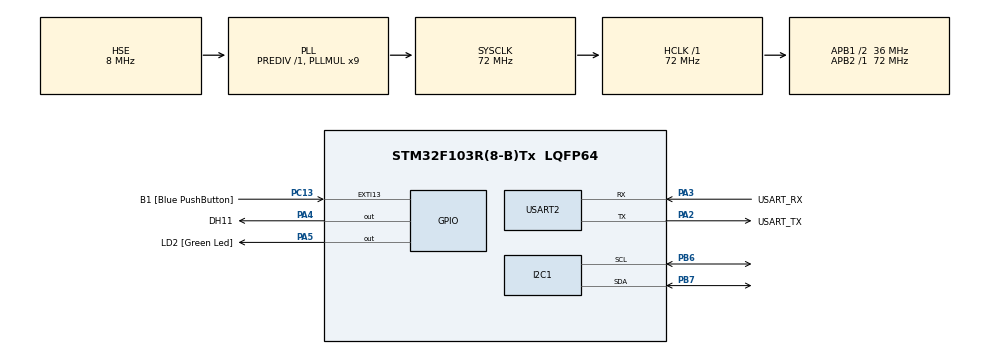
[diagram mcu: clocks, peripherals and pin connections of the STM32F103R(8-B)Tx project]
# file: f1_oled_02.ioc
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Mcu.Family=STM32F1
Mcu.Name=STM32F103R(8-B)Tx
Mcu.Package=LQFP64
NVIC.EXTI15_10_IRQn=true\:0\:0\:false\:false\:true\:true\:true
NVIC.PriorityGroup=NVIC_PRIORITYGROUP_4
PA13.GPIO_Label=TMS
PA13.Mode=Serial_Wire
PA13.Signal=SYS_JTMS-SWDIO
PA14.GPIO_Label=TCK
PA14.Mode=Serial_Wire
PA14.Signal=SYS_JTCK-SWCLK
PA2.GPIO_Label=USART_TX
PA2.GPIO_Mode=GPIO_MODE_AF_PP
PA2.GPIO_PuPd=GPIO_NOPULL
PA2.GPIO_Speed=GPIO_SPEED_FREQ_LOW
PA2.Mode=Asynchronous
PA2.Signal=USART2_TX
PA3.GPIO_Label=USART_RX
PA3.GPIO_Mode=GPIO_MODE_AF_PP
PA3.GPIO_PuPd=GPIO_NOPULL
PA3.GPIO_Speed=GPIO_SPEED_FREQ_LOW
PA3.Mode=Asynchronous
PA3.Signal=USART2_RX
PA4.GPIO_Label=DH11
PA4.GPIO_ModeDefaultOutputPP=GPIO_MODE_OUTPUT_OD
PA4.GPIO_PuPd=GPIO_PULLUP
PA4.GPIO_Speed=GPIO_SPEED_FREQ_HIGH
PA4.PinState=GPIO_PIN_SET
PA4.Signal=GPIO_Output
PA5.GPIO_Label=LD2 [Green Led]
PA5.GPIO_ModeDefaultOutputPP=GPIO_MODE_OUTPUT_PP
PA5.GPIO_PuPd=GPIO_NOPULL
PA5.GPIO_Speed=GPIO_SPEED_FREQ_LOW
PA5.Signal=GPIO_Output
PB3.GPIO_Label=SWO
PB3.Signal=SYS_JTDO-TRACESWO
PB6.Mode=I2C
PB6.Signal=I2C1_SCL
PB7.Mode=I2C
PB7.Signal=I2C1_SDA
PC13-TAMPER-RTC.GPIO_Label=B1 [Blue PushButton]
PC13-TAMPER-RTC.GPIO_PuPd=GPIO_NOPULL
PC13-TAMPER-RTC.Signal=GPXTI13
PC14-OSC32_IN.Mode=LSE-External-Oscillator
PC14-OSC32_IN.Signal=RCC_OSC32_IN
PC15-OSC32_OUT.Mode=LSE-External-Oscillator
PC15-OSC32_OUT.Signal=RCC_OSC32_OUT
PD0-OSC_IN.Mode=HSE-External-Clock-Source
PD0-OSC_IN.Signal=RCC_OSC_IN
PD1-OSC_OUT.Mode=HSE-External-Clock-Source
PD1-OSC_OUT.Signal=RCC_OSC_OUT
ProjectManager.HeapSize=0x200
ProjectManager.StackSize=0x400
ProjectManager.TargetToolchain=STM32CubeIDE
RCC.AHBFreq_Value=72000000
RCC.APB1CLKDivider=RCC_HCLK_DIV2
RCC.APB1Freq_Value=36000000
RCC.APB1TimFreq_Value=72000000
RCC.APB2Freq_Value=72000000
RCC.APB2TimFreq_Value=72000000
RCC.HCLKFreq_Value=72000000
RCC.PLLMUL=RCC_PLL_MUL9
RCC.PLLSourceVirtual=RCC_PLLSOURCE_HSE
RCC.RTCClockSelection=RCC_RTCCLKSOURCE_LSE
RCC.SYSCLKFreq_VALUE=72000000
RCC.SYSCLKSource=RCC_SYSCLKSOURCE_PLLCLK
RCC.USBFreq_Value=72000000
TIM2.Prescaler=72-1
USART2.VirtualMode=VM_ASYNC
VP_TIM2_VS_ClockSourceINT.Mode=Internal
board=NUCLEO-F103RB

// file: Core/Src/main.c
/* USER CODE BEGIN Header */
/**
  ******************************************************************************
  * @file           : main.c
  * @brief          : Main program body
  ******************************************************************************
  * @attention
  *
  * <h2><center>&copy; Copyright (c) 2021 STMicroelectronics.
  * All rights reserved.</center></h2>
  *
  * This software component is licensed by ST under BSD 3-Clause license,
  * the "License"; You may not use this file except in compliance with the
  * License. You may obtain a copy of the License at:
  *                        opensource.org/licenses/BSD-3-Clause
  *
  ******************************************************************************
  */
/* USER CODE END Header */
#include "main.h"

/* USER CODE BEGIN Includes */
#include <string.h>
#include <stdio.h>

#include "ssd1306.h"
#include "image.h"
/* USER CODE END Includes */

I2C_HandleTypeDef hi2c1;

TIM_HandleTypeDef htim2;

UART_HandleTypeDef huart2;

void SystemClock_Config(void);
static void MX_GPIO_Init(void);
static void MX_USART2_UART_Init(void);
static void MX_I2C1_Init(void);
static void MX_TIM2_Init(void);
/* USER CODE BEGIN PFP */
void Dh11GpioInputMode();
void Dh11GpioOutputMode();
void delay_us(uint16_t us);
/* USER CODE END PFP */

/* USER CODE BEGIN 0 */
void Dh11GpioInputMode() {
	GPIO_InitTypeDef GPIO_InitStruct = {0};
	GPIO_InitStruct.Pin = DH11_Pin;
	GPIO_InitStruct.Mode = GPIO_MODE_OUTPUT_OD;
	GPIO_InitStruct.Pull = GPIO_PULLUP;
	GPIO_InitStruct.Speed = GPIO_SPEED_FREQ_HIGH;
	HAL_GPIO_Init(DH11_GPIO_Port, &GPIO_InitStruct);
}

void Dh11GpioOutputMode() {
	// DH11 output high
	HAL_GPIO_WritePin(DH11_GPIO_Port, DH11_Pin, GPIO_PIN_SET);
	GPIO_InitTypeDef GPIO_InitStruct = {0};
	GPIO_InitStruct.Pin = DH11_Pin;
	GPIO_InitStruct.Mode = GPIO_MODE_OUTPUT_OD;
	GPIO_InitStruct.Pull = GPIO_PULLUP;
	GPIO_InitStruct.Speed = GPIO_SPEED_FREQ_HIGH;
	HAL_GPIO_Init(DH11_GPIO_Port, &GPIO_InitStruct);
}

/*
 * Delay micro seconds
 *
 */
void delay_us(uint16_t us) {
	__HAL_TIM_SET_COUNTER(&htim2, 0);
	while (__HAL_TIM_GET_COUNTER(&htim2) < us);
}

/*
 * DH11 process
 */
uint8_t dh11[5] = {0, 0, 0, 0, 0};

uint8_t Dh11Job() {
	uint8_t buf[32];
	uint16_t timEnd = 0;
	uint16_t timEndArr[42];
	uint8_t timEndArrIdx = 0;
	uint8_t timEndLen = sizeof(timEndArr)/2;
	uint8_t highOK = 0;
	uint8_t lowOK = 0;

	for(int i=0; i < sizeof(dh11); i++) {
		dh11[i] = 0;
	}

	sprintf((char*)buf, "tim_end_sz %d\r\n", timEndLen);
	HAL_UART_Transmit(&huart2, buf, strlen((char*)buf), HAL_MAX_DELAY);

	for(int i=0; i<timEndLen; i++) {
		timEndArr[i] = 0;
	}

	HAL_TIM_Base_Start(&htim2);

	// 1. set high
	Dh11GpioOutputMode();
	delay_us(20000);

	// 2. low and keep greater than 18 milli secs
	HAL_GPIO_WritePin(DH11_GPIO_Port, DH11_Pin, GPIO_PIN_RESET);
	delay_us(30000);

	// 3. set high 20-40us
	HAL_GPIO_WritePin(DH11_GPIO_Port, DH11_Pin, GPIO_PIN_SET);
	delay_us(30);

	// 4. input mode
	Dh11GpioInputMode();
	// read 80us low then 80us high
	__HAL_TIM_SET_COUNTER(&htim2, 0);

	while(1) {
		if(HAL_GPIO_ReadPin(DH11_GPIO_Port, DH11_Pin) == GPIO_PIN_RESET) {
			timEnd = __HAL_TIM_GET_COUNTER(&htim2);
			if(lowOK == 0) {
				lowOK = 1;
				highOK = 0;
				if(timEndArrIdx < timEndLen) {
					timEndArr[timEndArrIdx] = timEnd;
					timEndArrIdx++;
				}
			}

			if(timEnd > 50000){
				break;
			}
		}

		if(HAL_GPIO_ReadPin(DH11_GPIO_Port, DH11_Pin) == GPIO_PIN_SET) {
			if(highOK == 0) {
				lowOK = 0;
				highOK = 1;
				__HAL_TIM_SET_COUNTER(&htim2, 0);
			}

			timEnd = __HAL_TIM_GET_COUNTER(&htim2);
			if(timEnd > 50000) {
				break;
			}
		}
	}

	uint8_t bitNum = 0;
	uint8_t dh11Idx = 0;

	for(uint8_t i=0; i<timEndLen; i++) {
		sprintf((char*)buf, "tea %d %d\r\n", i, timEndArr[i]);
		HAL_UART_Transmit(&huart2, buf, strlen((char*)buf), HAL_MAX_DELAY);

		if(i < 2) {
			// skip low 80us and high 80 us
			continue;
		}

		bitNum++;
		if(timEndArr[i] > 40) {
			dh11[dh11Idx] |= 1;
		} // high
		// else low
		if(bitNum % 8 != 0) {
			dh11[dh11Idx] = dh11[dh11Idx] << 1;
		}

		if(bitNum % 8 == 0) {
			dh11Idx++;
		}
	}

	for(int i=0; i < sizeof(dh11); i++) {
		sprintf((char*)buf, "dh %d %d\r\n", i, dh11[i]);
		HAL_UART_Transmit(&huart2, buf, strlen((char*)buf), HAL_MAX_DELAY);
	}

	sprintf((char*)buf, "--dh11\r\n");
	HAL_UART_Transmit(&huart2, buf, strlen((char*)buf), HAL_MAX_DELAY);

	HAL_TIM_Base_Stop(&htim2);
	return 0;
}
/* USER CODE END 0 */

int main(void)
{
  /* USER CODE BEGIN 1 */
  uint8_t buf[12];

  /* USER CODE END 1 */

  /* MCU Configuration--------------------------------------------------------*/

  /* Reset of all peripherals, Initializes the Flash interface and the Systick. */
  HAL_Init();

  /* Configure the system clock */
  SystemClock_Config();

  /* Initialize all configured peripherals */
  MX_GPIO_Init();
  MX_USART2_UART_Init();
  MX_I2C1_Init();
  MX_TIM2_Init();
  /* USER CODE BEGIN 2 */
  ssd1306_Init();
  ssd1306_FlipScreenVertically();
  ssd1306_Clear();
  ssd1306_SetColor(White);

  ssd1306_DrawBitmap(0, 0, 128, 64, redis_logo);
  ssd1306_UpdateScreen();

  HAL_Delay(1000);

  /* USER CODE END 2 */

  /* Infinite loop */
  /* USER CODE BEGIN WHILE */
  while (1)
  {
	  sprintf((char*)buf, "IW01");
	  HAL_UART_Transmit(&huart2, buf, strlen((char*)buf), HAL_MAX_DELAY);

	  // sprintf((char*), "%d.%02u C", (int16_t)temp_c/100, (int16_t)temp_c%100);
	  tmp102_ReadTemperature();

	  ssd1306_Clear();
	  ssd1306_SetCursor(8, 0);
	  ssd1306_WriteString("TMP102", Font_11x18);
	  ssd1306_SetCursor(8, 24);
	  ssd1306_WriteString((char*)buf, Font_11x18);
	  ssd1306_UpdateScreen();

	  HAL_GPIO_TogglePin(GPIOA, GPIO_PIN_5);
	  HAL_Delay(2000);

	  Dh11Job();
	  sprintf((char*)buf, "%d.%d C", dh11[2], dh11[3]);
	  ssd1306_Clear();
	  ssd1306_SetCursor(8, 0);
	  ssd1306_WriteString("DH11 TMP", Font_11x18);
	  ssd1306_SetCursor(8, 24);
	  ssd1306_WriteString((char*)buf, Font_11x18);
	  ssd1306_UpdateScreen();

	  HAL_GPIO_TogglePin(GPIOA, GPIO_PIN_5);
	  HAL_Delay(2000);

	  sprintf((char*)buf, "%d.%d", dh11[0], dh11[1]);
	  ssd1306_Clear();
	  ssd1306_SetCursor(8, 0);
	  ssd1306_WriteString("DH11 HUM", Font_11x18);
	  ssd1306_SetCursor(8, 24);
	  ssd1306_WriteString((char*)buf, Font_11x18);
	  ssd1306_UpdateScreen();

	  HAL_GPIO_TogglePin(GPIOA, GPIO_PIN_5);
	  HAL_Delay(2000);
    /* USER CODE END WHILE */

  }
}

void SystemClock_Config(void)
{
  RCC_OscInitTypeDef RCC_OscInitStruct = {0};
  RCC_ClkInitTypeDef RCC_ClkInitStruct = {0};

  /** Initializes the RCC Oscillators according to the specified parameters
  * in the RCC_OscInitTypeDef structure.
  */
  RCC_OscInitStruct.OscillatorType = RCC_OSCILLATORTYPE_HSE;
  RCC_OscInitStruct.HSEState = RCC_HSE_BYPASS;
  RCC_OscInitStruct.HSEPredivValue = RCC_HSE_PREDIV_DIV1;
  RCC_OscInitStruct.HSIState = RCC_HSI_ON;
  RCC_OscInitStruct.PLL.PLLState = RCC_PLL_ON;
  RCC_OscInitStruct.PLL.PLLSource = RCC_PLLSOURCE_HSE;
  RCC_OscInitStruct.PLL.PLLMUL = RCC_PLL_MUL9;
  if (HAL_RCC_OscConfig(&RCC_OscInitStruct) != HAL_OK)
  {
    Error_Handler();
  }
  /** Initializes the CPU, AHB and APB buses clocks
  */
  RCC_ClkInitStruct.ClockType = RCC_CLOCKTYPE_HCLK|RCC_CLOCKTYPE_SYSCLK
                              |RCC_CLOCKTYPE_PCLK1|RCC_CLOCKTYPE_PCLK2;
  RCC_ClkInitStruct.SYSCLKSource = RCC_SYSCLKSOURCE_PLLCLK;
  RCC_ClkInitStruct.AHBCLKDivider = RCC_SYSCLK_DIV1;
  RCC_ClkInitStruct.APB1CLKDivider = RCC_HCLK_DIV2;
  RCC_ClkInitStruct.APB2CLKDivider = RCC_HCLK_DIV1;

  if (HAL_RCC_ClockConfig(&RCC_ClkInitStruct, FLASH_LATENCY_2) != HAL_OK)
  {
    Error_Handler();
  }
}

static void MX_I2C1_Init(void)
{

  hi2c1.Instance = I2C1;
  hi2c1.Init.ClockSpeed = 100000;
  hi2c1.Init.DutyCycle = I2C_DUTYCYCLE_2;
  hi2c1.Init.OwnAddress1 = 0;
  hi2c1.Init.AddressingMode = I2C_ADDRESSINGMODE_7BIT;
  hi2c1.Init.DualAddressMode = I2C_DUALADDRESS_DISABLE;
  hi2c1.Init.OwnAddress2 = 0;
  hi2c1.Init.GeneralCallMode = I2C_GENERALCALL_DISABLE;
  hi2c1.Init.NoStretchMode = I2C_NOSTRETCH_DISABLE;
  if (HAL_I2C_Init(&hi2c1) != HAL_OK)
  {
    Error_Handler();
  }

}

static void MX_TIM2_Init(void)
{

  TIM_ClockConfigTypeDef sClockSourceConfig = {0};
  TIM_MasterConfigTypeDef sMasterConfig = {0};

  htim2.Instance = TIM2;
  htim2.Init.Prescaler = 72-1;
  htim2.Init.CounterMode = TIM_COUNTERMODE_UP;
  htim2.Init.Period = 65535;
  htim2.Init.ClockDivision = TIM_CLOCKDIVISION_DIV1;
  htim2.Init.AutoReloadPreload = TIM_AUTORELOAD_PRELOAD_DISABLE;
  if (HAL_TIM_Base_Init(&htim2) != HAL_OK)
  {
    Error_Handler();
  }
  sClockSourceConfig.ClockSource = TIM_CLOCKSOURCE_INTERNAL;
  if (HAL_TIM_ConfigClockSource(&htim2, &sClockSourceConfig) != HAL_OK)
  {
    Error_Handler();
  }
  sMasterConfig.MasterOutputTrigger = TIM_TRGO_RESET;
  sMasterConfig.MasterSlaveMode = TIM_MASTERSLAVEMODE_DISABLE;
  if (HAL_TIMEx_MasterConfigSynchronization(&htim2, &sMasterConfig) != HAL_OK)
  {
    Error_Handler();
  }

}

static void MX_USART2_UART_Init(void)
{

  huart2.Instance = USART2;
  huart2.Init.BaudRate = 115200;
  huart2.Init.WordLength = UART_WORDLENGTH_8B;
  huart2.Init.StopBits = UART_STOPBITS_1;
  huart2.Init.Parity = UART_PARITY_NONE;
  huart2.Init.Mode = UART_MODE_TX_RX;
  huart2.Init.HwFlowCtl = UART_HWCONTROL_NONE;
  huart2.Init.OverSampling = UART_OVERSAMPLING_16;
  if (HAL_UART_Init(&huart2) != HAL_OK)
  {
    Error_Handler();
  }

}

static void MX_GPIO_Init(void)
{
  GPIO_InitTypeDef GPIO_InitStruct = {0};

  /* GPIO Ports Clock Enable */
  __HAL_RCC_GPIOC_CLK_ENABLE();
  __HAL_RCC_GPIOD_CLK_ENABLE();
  __HAL_RCC_GPIOA_CLK_ENABLE();
  __HAL_RCC_GPIOB_CLK_ENABLE();

  /*Configure GPIO pin Output Level */
  HAL_GPIO_WritePin(DH11_GPIO_Port, DH11_Pin, GPIO_PIN_SET);

  /*Configure GPIO pin Output Level */
  HAL_GPIO_WritePin(LD2_GPIO_Port, LD2_Pin, GPIO_PIN_RESET);

  /*Configure GPIO pin : B1_Pin */
  GPIO_InitStruct.Pin = B1_Pin;
  GPIO_InitStruct.Mode = GPIO_MODE_IT_RISING;
  GPIO_InitStruct.Pull = GPIO_NOPULL;
  HAL_GPIO_Init(B1_GPIO_Port, &GPIO_InitStruct);

  /*Configure GPIO pin : DH11_Pin */
  GPIO_InitStruct.Pin = DH11_Pin;
  GPIO_InitStruct.Mode = GPIO_MODE_OUTPUT_OD;
  GPIO_InitStruct.Pull = GPIO_PULLUP;
  GPIO_InitStruct.Speed = GPIO_SPEED_FREQ_HIGH;
  HAL_GPIO_Init(DH11_GPIO_Port, &GPIO_InitStruct);

  /*Configure GPIO pin : LD2_Pin */
  GPIO_InitStruct.Pin = LD2_Pin;
  GPIO_InitStruct.Mode = GPIO_MODE_OUTPUT_PP;
  GPIO_InitStruct.Pull = GPIO_NOPULL;
  GPIO_InitStruct.Speed = GPIO_SPEED_FREQ_LOW;
  HAL_GPIO_Init(LD2_GPIO_Port, &GPIO_InitStruct);

  /* EXTI interrupt init*/
  HAL_NVIC_SetPriority(EXTI15_10_IRQn, 0, 0);
  HAL_NVIC_EnableIRQ(EXTI15_10_IRQn);

}

void Error_Handler(void)
{
  __disable_irq();
  while (1)
  {
  }
}

/************************ (C) COPYRIGHT STMicroelectronics *****END OF FILE****/
